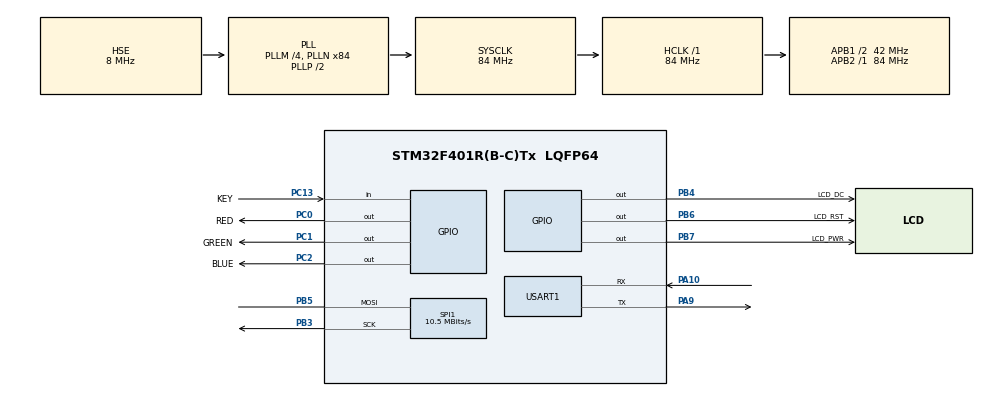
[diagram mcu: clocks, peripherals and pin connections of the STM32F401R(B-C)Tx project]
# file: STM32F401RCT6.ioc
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Mcu.Family=STM32F4
Mcu.Name=STM32F401R(B-C)Tx
Mcu.Package=LQFP64
NVIC.PriorityGroup=NVIC_PRIORITYGROUP_4
NVIC.USART1_IRQn=true\:0\:0\:false\:false\:true\:true\:true\:true
PA10.Mode=Asynchronous
PA10.Signal=USART1_RX
PA13.Mode=Serial_Wire
PA13.Signal=SYS_JTMS-SWDIO
PA14.Mode=Serial_Wire
PA14.Signal=SYS_JTCK-SWCLK
PA9.Mode=Asynchronous
PA9.Signal=USART1_TX
PB3.GPIO_PuPd=GPIO_PULLUP
PB3.Mode=Simplex_Bidirectional_Master
PB3.Signal=SPI1_SCK
PB4.GPIO_Label=LCD_DC
PB4.GPIO_PuPd=GPIO_PULLUP
PB4.GPIO_Speed=GPIO_SPEED_FREQ_VERY_HIGH
PB4.PinState=GPIO_PIN_RESET
PB4.Signal=GPIO_Output
PB5.GPIO_PuPd=GPIO_PULLUP
PB5.Mode=Simplex_Bidirectional_Master
PB5.Signal=SPI1_MOSI
PB6.GPIO_Label=LCD_RST
PB6.GPIO_PuPd=GPIO_PULLUP
PB6.GPIO_Speed=GPIO_SPEED_FREQ_VERY_HIGH
PB6.PinState=GPIO_PIN_RESET
PB6.Signal=GPIO_Output
PB7.GPIO_Label=LCD_PWR
PB7.GPIO_PuPd=GPIO_PULLUP
PB7.GPIO_Speed=GPIO_SPEED_FREQ_VERY_HIGH
PB7.PinState=GPIO_PIN_RESET
PB7.Signal=GPIO_Output
PC0.GPIO_Label=RED
PC0.GPIO_PuPd=GPIO_PULLUP
PC0.PinState=GPIO_PIN_SET
PC0.Signal=GPIO_Output
PC1.GPIO_Label=GREEN
PC1.GPIO_PuPd=GPIO_PULLUP
PC1.PinState=GPIO_PIN_SET
PC1.Signal=GPIO_Output
PC13-ANTI_TAMP.GPIO_Label=KEY
PC13-ANTI_TAMP.GPIO_PuPd=GPIO_PULLUP
PC13-ANTI_TAMP.Signal=GPIO_Input
PC14-OSC32_IN.Mode=LSE-External-Oscillator
PC14-OSC32_IN.Signal=RCC_OSC32_IN
PC15-OSC32_OUT.Mode=LSE-External-Oscillator
PC15-OSC32_OUT.Signal=RCC_OSC32_OUT
PC2.GPIO_Label=BLUE
PC2.GPIO_PuPd=GPIO_PULLUP
PC2.PinState=GPIO_PIN_SET
PC2.Signal=GPIO_Output
PH0\ -\ OSC_IN.Mode=HSE-External-Oscillator
PH0\ -\ OSC_IN.Signal=RCC_OSC_IN
PH1\ -\ OSC_OUT.Mode=HSE-External-Oscillator
PH1\ -\ OSC_OUT.Signal=RCC_OSC_OUT
ProjectManager.HeapSize=0x200
ProjectManager.StackSize=0x400
ProjectManager.TargetToolchain=MDK-ARM V5
RCC.48MHZClocksFreq_Value=42000000
RCC.AHBFreq_Value=84000000
RCC.APB1CLKDivider=RCC_HCLK_DIV2
RCC.APB1Freq_Value=42000000
RCC.APB1TimFreq_Value=84000000
RCC.APB2Freq_Value=84000000
RCC.APB2TimFreq_Value=84000000
RCC.CortexFreq_Value=84000000
RCC.HCLKFreq_Value=84000000
RCC.HSE_VALUE=8000000
RCC.HSI_VALUE=16000000
RCC.PLLM=4
RCC.PLLN=84
RCC.PLLSourceVirtual=RCC_PLLSOURCE_HSE
RCC.SYSCLKFreq_VALUE=84000000
RCC.SYSCLKSource=RCC_SYSCLKSOURCE_PLLCLK
RCC.VCOOutputFreq_Value=168000000
SPI1.BaudRatePrescaler=SPI_BAUDRATEPRESCALER_8
SPI1.CLKPhase=SPI_PHASE_2EDGE
SPI1.CLKPolarity=SPI_POLARITY_HIGH
SPI1.CalculateBaudRate=10.5 MBits/s
SPI1.Direction=SPI_DIRECTION_1LINE
SPI1.Mode=SPI_MODE_MASTER
SPI1.VirtualType=VM_MASTER
USART1.VirtualMode=VM_ASYNC
board=custom

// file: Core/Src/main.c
/* USER CODE BEGIN Header */
/**
  ******************************************************************************
  * @file           : main.c
  * @brief          : Main program body
  ******************************************************************************
  * @attention
  *
  * Copyright (c) 2022 STMicroelectronics.
  * All rights reserved.
  *
  * This software is licensed under terms that can be found in the LICENSE file
  * in the root directory of this software component.
  * If no LICENSE file comes with this software, it is provided AS-IS.
  *
  ******************************************************************************
  */
/* USER CODE END Header */
#include "main.h"
#include "spi.h"
#include "usart.h"
#include "gpio.h"

/* USER CODE BEGIN Includes */
#include "BSP_GPIO.h"
#include "BSP_USART.h"
#include "BSP_spi.h"
#include "stdio.h"
#include "tftlcd.h"
/* USER CODE END Includes */

void SystemClock_Config(void);

/* USER CODE BEGIN 0 */
	char str[50] = {0};
	uint8_t t;
	char tbuf[40];
/* USER CODE END 0 */

int main(void)
{
  /* USER CODE BEGIN 1 */
	uint8_t color = 0;
  /* USER CODE END 1 */

  /* MCU Configuration--------------------------------------------------------*/

  /* Reset of all peripherals, Initializes the Flash interface and the Systick. */
  HAL_Init();

  /* Configure the system clock */
  SystemClock_Config();

  /* Initialize all configured peripherals */
  MX_GPIO_Init();
  MX_USART1_UART_Init();
  MX_SPI1_Init();
  /* USER CODE BEGIN 2 */
//	__HAL_SPI_ENABLE(&hspi1);
	LCD_Init();
	LCD_Clear(BLACK); 		//清屏
	BACK_COLOR=BLACK;
	POINT_COLOR=CYAN;
	LCD_ShowString(0, 0, 160, 12, 12, "Neolux Lee");
	LCD_ShowString(0, 15, 160, 12, 12, "TFTLCD 160*80");
	POINT_COLOR=RED;
	LCD_ShowString(0, 30, 160, 16, 12, "STM32F401RCT6");
	LCD_ShowString(0, 45, 160, 12, 12, "2023/10/1");
  /* USER CODE END 2 */

  /* Infinite loop */
  /* USER CODE BEGIN WHILE */

  while (1)
  {
		switch(color%7)
		{
			case 0:
				LED_R(0);
				LED_G(1);
				LED_B(1);
				break;
			case 1:
				LED_R(1);
				LED_G(0);
				LED_B(1);
				break;
			case 2:
				LED_R(1);
				LED_G(1);
				LED_B(0);
				break;
			case 3:
				LED_R(0);
				LED_G(0);
				LED_B(1);
				break;
			case 4:
				LED_R(0);
				LED_G(1);
				LED_B(0);
				break;
			case 5:
				LED_R(1);
				LED_G(0);
				LED_B(0);
				break;
			case 6:
				LED_R(0);
				LED_G(0);
				LED_B(0);
				break;
			default:
				break;
		}
		color++;

		sprintf(str,"%4dABCD",t);
		LCD_ShowString(0, 60, 240, 12, 12, str);

		t++;

		HAL_Delay(500);
    /* USER CODE END WHILE */

  }
}

void SystemClock_Config(void)
{
  RCC_OscInitTypeDef RCC_OscInitStruct = {0};
  RCC_ClkInitTypeDef RCC_ClkInitStruct = {0};

  /** Configure the main internal regulator output voltage
  */
  __HAL_RCC_PWR_CLK_ENABLE();
  __HAL_PWR_VOLTAGESCALING_CONFIG(PWR_REGULATOR_VOLTAGE_SCALE2);

  /** Initializes the RCC Oscillators according to the specified parameters
  * in the RCC_OscInitTypeDef structure.
  */
  RCC_OscInitStruct.OscillatorType = RCC_OSCILLATORTYPE_HSE;
  RCC_OscInitStruct.HSEState = RCC_HSE_ON;
  RCC_OscInitStruct.PLL.PLLState = RCC_PLL_ON;
  RCC_OscInitStruct.PLL.PLLSource = RCC_PLLSOURCE_HSE;
  RCC_OscInitStruct.PLL.PLLM = 4;
  RCC_OscInitStruct.PLL.PLLN = 84;
  RCC_OscInitStruct.PLL.PLLP = RCC_PLLP_DIV2;
  RCC_OscInitStruct.PLL.PLLQ = 4;
  if (HAL_RCC_OscConfig(&RCC_OscInitStruct) != HAL_OK)
  {
    Error_Handler();
  }

  /** Initializes the CPU, AHB and APB buses clocks
  */
  RCC_ClkInitStruct.ClockType = RCC_CLOCKTYPE_HCLK|RCC_CLOCKTYPE_SYSCLK
                              |RCC_CLOCKTYPE_PCLK1|RCC_CLOCKTYPE_PCLK2;
  RCC_ClkInitStruct.SYSCLKSource = RCC_SYSCLKSOURCE_PLLCLK;
  RCC_ClkInitStruct.AHBCLKDivider = RCC_SYSCLK_DIV1;
  RCC_ClkInitStruct.APB1CLKDivider = RCC_HCLK_DIV2;
  RCC_ClkInitStruct.APB2CLKDivider = RCC_HCLK_DIV1;

  if (HAL_RCC_ClockConfig(&RCC_ClkInitStruct, FLASH_LATENCY_2) != HAL_OK)
  {
    Error_Handler();
  }
}

void Error_Handler(void)
{
  __disable_irq();
  while (1)
  {
  }
}
